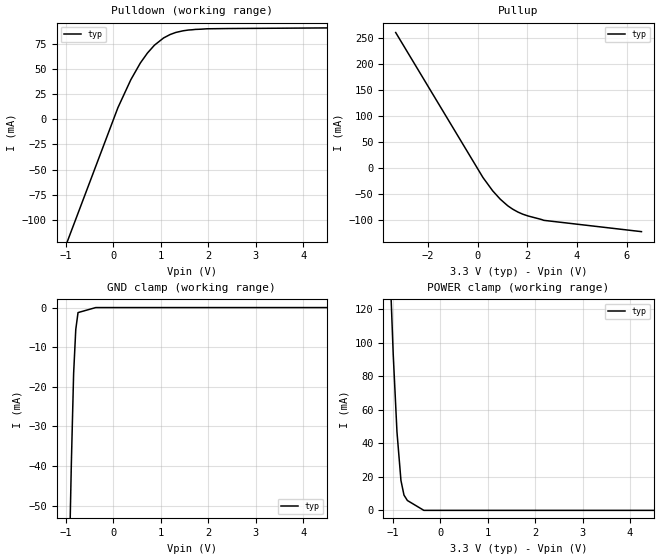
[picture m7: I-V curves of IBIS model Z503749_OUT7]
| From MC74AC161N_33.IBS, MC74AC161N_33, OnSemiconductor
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| (C) COPYRIGHT 1993-2000
| MENTOR GRAPHICS CORPORATION
| ICX STANDARD LIBRARY, ICX PROJECT MODELING,
| ICX CUSTOM MODELING, ICX VENDOR MODEL
| ALL RIGHTS RESERVED.
| THE FOLLOWING ARE TRADEMARKS OR SERVICE MARKS OF
| MENTOR GRAPHICS CORPORATION:ICX (R), ICX STANDARD
| LIBRARY(R), ICX PROJECT MODELING(R), ICX CUSTOM
| MODELING(R), qualityIBIS(TM), MODELVIEWER(TM),
| AND MODELEDITOR(TM)
| ALL COPIES OF SOFTWARE, INCLUDING BUT NOT LIMITED TO
| ANY MODIFICATIONS, ENHANCEMENTS OR DERIVATIVE WORKS,
| MUST CONTAIN ALL MENTOR GRAPHICS CORPORATION'S
| NOTICES AND LEGENDS, INCLUDING THOSE EMBEDDED IN
| SOFTWARE AND THOSE AFFIXED TO SOFTWARE MEDIUM
| AND CONTAINER, AS RECEIVED FROM MENTOR GRAPHICS
| CORPORATION.
| Model Application Version 1.89 2/18/99.
[Model] Z503749_OUT7
Model_type Output
Vref=0.000V
Rref=500.0ohms
Cref=50.00pF
Vmeas=1.650V
C_comp 8.000pF NA NA
| variable typ   min   max
[Voltage Range] 3.300V NA NA
[POWER Clamp Reference] 3.300V NA NA
[Pullup Reference] 3.300V NA NA
[Pulldown Reference] 0.000V NA NA
[GND Clamp Reference] 0.000V NA NA
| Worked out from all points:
|   slope of the pulldown table from 0 to 0.495 V, typ, clamps not added: 9.88 ohm
|   slope of the pullup table from 0 to 0.495 V, typ, clamps not added: 14 ohm
[GND Clamp]
-3.3V     -1.425A    NA         NA
-887.5mV  -39.35mA   NA         NA
-839.7mV  -16.71mA   NA         NA
-794.5mV  -5.54mA    NA         NA
-746.7mV  -1.265mA   NA         NA
-373.3mV  0A         NA         NA
6.6V      0A         NA         NA
[Pulldown]
-3.3V     -411.5mA   NA         NA
93.96mV   11.33mA    NA         NA
366.3mV   39.07mA    NA         NA
566.7mV   55.66mA    NA         NA
717mV     65.59mA    NA         NA
864.4mV   73.37mA    NA         NA
1.057V    80.55mA    NA         NA
1.194V    83.93mA    NA         NA
1.469V    87.66mA    NA         NA
1.968V    89.64mA    NA         NA
6.6V      91.13mA    NA         NA
[Pullup]
-3.3V     261.1mA    NA         NA
215mV     -18.72mA   NA         NA
608mV     -44.49mA   NA         NA
912mV     -60.56mA   NA         NA
1.215V    -73.34mA   NA         NA
1.409V    -79.7mA    NA         NA
1.816V    -89.45mA   NA         NA
2.668V    -101.4mA   NA         NA
6.6V      -123.2mA   NA         NA
[POWER Clamp]
-3.3V     1.826A     NA         NA
-993mV    93.14mA    NA         NA
-914mV    46.83mA    NA         NA
-830mV    17.84mA    NA         NA
-766mV    9.093mA    NA         NA
-694mV    5.875mA    NA         NA
-347mV    0A         NA         NA
6.6V      0A         NA         NA
[Ramp]
| variable typ min max
dV/dt_r 1.941/366.7p NA NA
dV/dt_f 1.941/421.2p NA NA
R_load = 500.0Ohms
